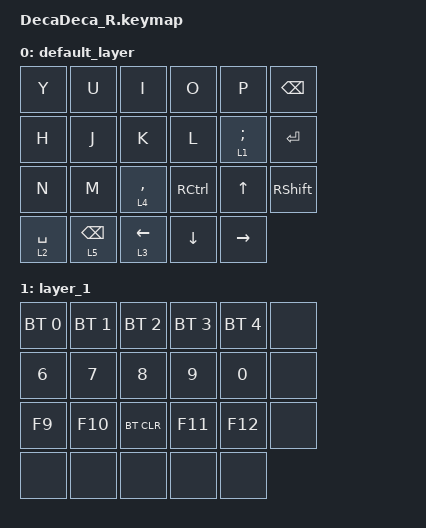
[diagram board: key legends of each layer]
#include <dt-bindings/zmk/mouse.h>
#include <behaviors.dtsi>
#include <dt-bindings/zmk/bt.h>
#include <dt-bindings/zmk/keys.h>

/ {
    keymap {
        compatible = "zmk,keymap";

        default_layer {
            bindings = <
&kp Y        &kp U            &kp I        &kp O      &kp P            &kp BACKSPACE
&kp H        &kp J            &kp K        &kp L      &lt 1 SEMICOLON  &kp ENTER
&kp N        &kp M            &lt 4 COMMA  &kp RCTRL  &kp UP_ARROW     &kp RSHIFT
&lt 2 SPACE  &lt 5 BACKSPACE  &lt 3 LEFT   &kp DOWN   &kp RIGHT
            >;
        };

        layer_1 {
            bindings = <
&bt BT_SEL 0  &bt BT_SEL 1  &bt BT_SEL 2  &bt BT_SEL 3  &bt BT_SEL 4  &none
&kp NUMBER_6  &kp NUMBER_7  &kp NUMBER_8  &kp NUMBER_9  &kp NUMBER_0  &none
&kp F9        &kp F10       &bt BT_CLR    &kp F11       &kp F12       &none
&none         &none         &none         &none         &none
            >;
        };
    };
};
